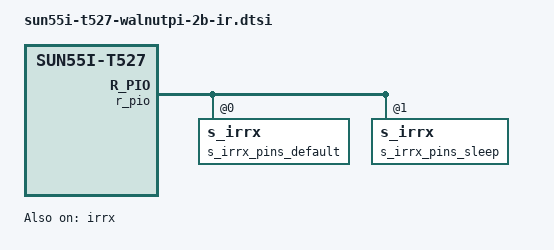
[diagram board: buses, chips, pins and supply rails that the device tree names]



&r_pio {
	s_irrx_pins_default: s_irrx@0 {
		pins = "PL11";
		function = "s_cir";
	};

	s_irrx_pins_sleep: s_irrx@1 {
		pins = "PL11";
		function = "gpio_in";
	};
};

&pio {
	irrx_pins_default: irrx@0 {
		pins = "PI8";
		function = "cir";
	};

	irrx_pins_sleep: irrx@1 {
		pins = "PI8";
		function = "gpio_in";
	};

	irtx_pins_default: irtx@0 {
		pins = "PH18";
		function = "cir";
	};

	irtx_pins_sleep: irtx@1 {
		pins = "PH18";
		function = "gpio_in";
	};
};
/{
	cir_param: cir_param {
		gpio_group = <1>;      /* 0:PL 1:PM */
		gpio_pin = <11>;
		gpio_function = <2>;
		count = <15>;
		ir_power_key_code0 = <0x40>;
		ir_addr_code0 = <0xfe01>;
		ir_power_key_code1 = <0x1a>;
		ir_addr_code1 = <0xfb04>;
		ir_power_key_code2 = <0xf2>;
		ir_addr_code2 = <0x2992>;
		ir_power_key_code3 = <0x57>;
		ir_addr_code3 = <0x9f00>;
		ir_power_key_code4 = <0xdc>;
		ir_addr_code4 = <0x4cb3>;
		ir_power_key_code5 = <0x18>;
		ir_addr_code5 = <0xff00>;
		ir_power_key_code6 = <0xdc>;
		ir_addr_code6 = <0xdd22>;
		ir_power_key_code7 = <0x0d>;
		ir_addr_code7 = <0xbc00>;
		ir_power_key_code8 = <0x4d>;
		ir_addr_code8 = <0x4040>;
		ir_power_key_code9 = <0x08>;
		ir_addr_code9 = <0xfb04>;
		ir_power_key_code10 = <0x00>;
		ir_addr_code10 = <0xfc03>;
		ir_power_key_code11 = <0x00>;
		ir_addr_code11 = <0xbf00>;
		ir_power_key_code12 = <0xea>;
		ir_addr_code12 = <0xfb04>;
		ir_power_key_code13 = <0x42>;
		ir_addr_code13 = <0xbf00>;
		ir_power_key_code14 = <0x0f>;
		ir_addr_code14 = <0xff00>;
	};
};
&irrx {
	pinctrl-names = "default", "sleep";
	pinctrl-0 = <&irrx_pins_default>;
	pinctrl-1 = <&irrx_pins_sleep>;
	status = "okay";
};

&s_irrx {
	pinctrl-names = "default", "sleep";
	pinctrl-0 = <&s_irrx_pins_default>;
	pinctrl-1 = <&s_irrx_pins_sleep>;
	status = "disabled";
};

&irtx {
	pinctrl-names = "default", "sleep";
	pinctrl-0 = <&irtx_pins_default>;
	pinctrl-1 = <&irtx_pins_sleep>;
	status = "disabled";
};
